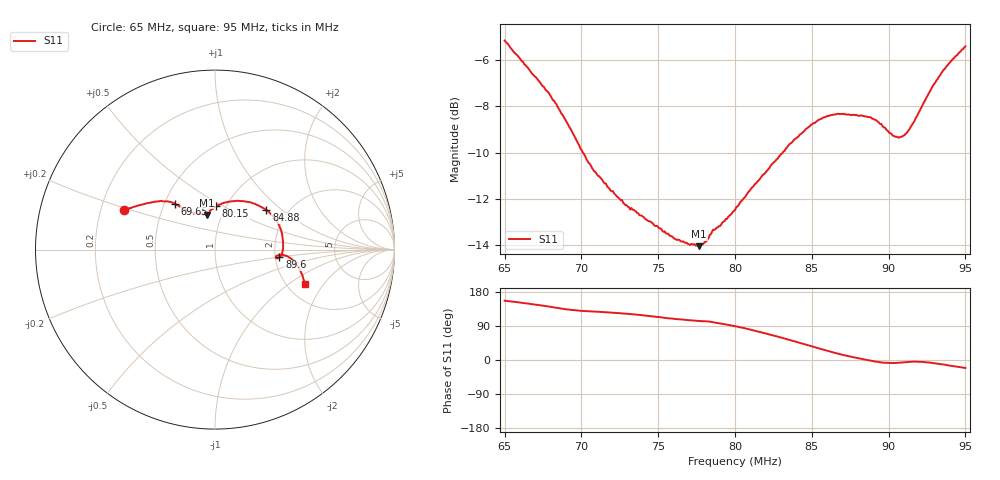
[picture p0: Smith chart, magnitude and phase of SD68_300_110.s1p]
! NanoVNA-App
! Date: 2025-08-09 13:28:03
! Start: 65MHz Stop: 95MHz Points: 401
! S-Parameter data: F S11
# Hz S RI R 50
!  Frequency  S11_Real  S11_Imag
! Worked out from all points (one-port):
!   401 points, 65 MHz to 95 MHz, reference 50 ohm
!   lowest |S11| = -14.1 dB at 77.67 MHz (marker M1), VSWR 1.49, Z = 42.6 + j17.1 ohm
!   |S11| at or under -10 dB: 70.09 MHz to 83.11 MHz (13.02 MHz wide, 17 % of centre)
!   S11 on the Smith chart (normalised r, x): 65 MHz: 0.30, +0.19; 69.65 MHz: 0.57, +0.33; 80.15 MHz: 0.90, +0.46; 84.88 MHz: 1.56, +0.79; 89.6 MHz: 2.11, -0.21; 95 MHz: 2.48, -1.35
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6.5e7  -0.5074 0.2209
6.7175e7  -0.3735 0.2586
6.875e7  -0.2727 0.2685
6.965e7  -0.2213 0.2552
7.085e7  -0.1764 0.2274
7.25e7  -0.1389 0.2086
7.625e7  -0.0625 0.1947
7.7675e7  -0.0446 0.1931
7.805e7  -0.0433 0.1979
7.8425e7  -0.0393 0.2067
8e7  0.00425 0.2373
8.015e7  0.00715 0.2414
8.12e7  0.0547 0.2616
8.2325e7  0.1186 0.2715
8.375e7  0.2127 0.2574
8.4875e7  0.2866 0.2195
8.555e7  0.3247 0.1841
8.6225e7  0.3533 0.1423
8.75e7  0.3772 0.0584
8.87e7  0.3776 -0.00405
8.96e7  0.3588 -0.0431
9.005e7  0.3453 -0.0491
9.0575e7  0.3391 -0.0445
9.125e7  0.3501 -0.032
9.1925e7  0.383 -0.0303
9.2675e7  0.425 -0.0521
9.3725e7  0.4717 -0.1095
9.5e7  0.5011 -0.194
